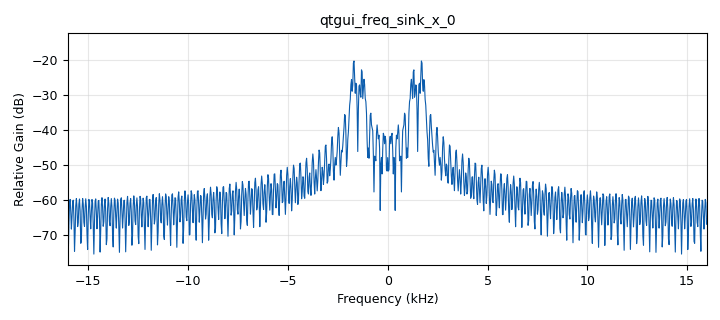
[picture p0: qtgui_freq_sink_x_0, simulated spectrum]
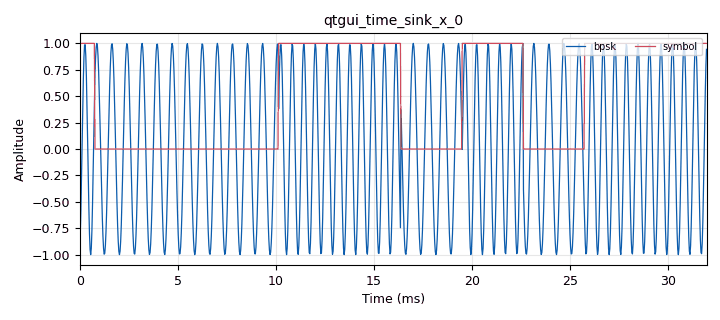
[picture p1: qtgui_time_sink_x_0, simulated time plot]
options:
  parameters:
    author: wcc
    generate_options: qt_gui
    id: lab1_fsk_mod_demod
    output_language: python
    title: lab1_fsk_mod_demod
  states: {}

blocks:
- name: fc
  id: variable_qtgui_range
  parameters:
    label: carrier frequency
    orient: Qt.Horizontal
    start: '1500'
    step: '1'
    stop: '2000'
    value: '1500'
  states: {}
- name: fd
  id: variable_qtgui_range
  parameters:
    label: delta freq
    orient: Qt.Horizontal
    start: '200'
    step: '1'
    stop: '500'
    value: '200'
  states: {}
- name: samp_rate
  id: variable
  parameters:
    value: '32000'
  states: {}
- name: analog_random_source_x_0
  id: analog_random_source_x
  parameters:
    max: '2'
    min: '0'
    num_samps: '1000'
    repeat: 'True'
    type: byte
  states: {}
- name: analog_sig_source_x_0
  id: analog_sig_source_x
  parameters:
    amp: '1'
    freq: fc+fd
    offset: '0'
    phase: '0'
    samp_rate: samp_rate
    type: float
    waveform: analog.GR_COS_WAVE
  states: {}
- name: analog_sig_source_x_0_0
  id: analog_sig_source_x
  parameters:
    amp: '1'
    freq: fc-fd
    offset: '0'
    phase: '0'
    samp_rate: samp_rate
    type: float
    waveform: analog.GR_COS_WAVE
  states: {}
- name: blocks_add_const_vxx_0
  id: blocks_add_const_vxx
  parameters:
    const: '-1'
    type: float
  states: {}
- name: blocks_add_xx_0
  id: blocks_add_xx
  parameters:
    type: float
  states: {}
- name: blocks_char_to_float_0
  id: blocks_char_to_float
  parameters:
    scale: '1'
  states: {}
- name: blocks_multiply_xx_0
  id: blocks_multiply_xx
  parameters:
    type: float
  states: {}
- name: blocks_multiply_xx_0_0
  id: blocks_multiply_xx
  parameters:
    type: float
  states: {}
- name: blocks_repeat_0
  id: blocks_repeat
  parameters:
    interp: '100'
    type: byte
  states: {}
- name: blocks_throttle_0
  id: blocks_throttle
  parameters:
    samples_per_second: samp_rate
    type: byte
  states: {}
- name: qtgui_freq_sink_x_0
  id: qtgui_freq_sink_x
  parameters:
    autoscale: 'True'
    bw: samp_rate
    fc: '0'
    fftsize: '1024'
    type: float
    wintype: firdes.WIN_BLACKMAN_hARRIS
  states: {}
- name: qtgui_time_sink_x_0
  id: qtgui_time_sink_x
  parameters:
    autoscale: 'True'
    label1: bpsk
    label2: symbol
    nconnections: '2'
    size: '1024'
    srate: samp_rate
    type: float
  states: {}

connections:
- [analog_random_source_x_0, '0', blocks_repeat_0, '0']
- [analog_sig_source_x_0, '0', blocks_multiply_xx_0, '0']
- [analog_sig_source_x_0_0, '0', blocks_multiply_xx_0_0, '1']
- [blocks_add_const_vxx_0, '0', blocks_multiply_xx_0_0, '0']
- [blocks_add_xx_0, '0', qtgui_freq_sink_x_0, '0']
- [blocks_add_xx_0, '0', qtgui_time_sink_x_0, '0']
- [blocks_char_to_float_0, '0', blocks_add_const_vxx_0, '0']
- [blocks_char_to_float_0, '0', blocks_multiply_xx_0, '1']
- [blocks_char_to_float_0, '0', qtgui_time_sink_x_0, '1']
- [blocks_multiply_xx_0, '0', blocks_add_xx_0, '0']
- [blocks_multiply_xx_0_0, '0', blocks_add_xx_0, '1']
- [blocks_repeat_0, '0', blocks_throttle_0, '0']
- [blocks_throttle_0, '0', blocks_char_to_float_0, '0']

metadata:
  file_format: 1
